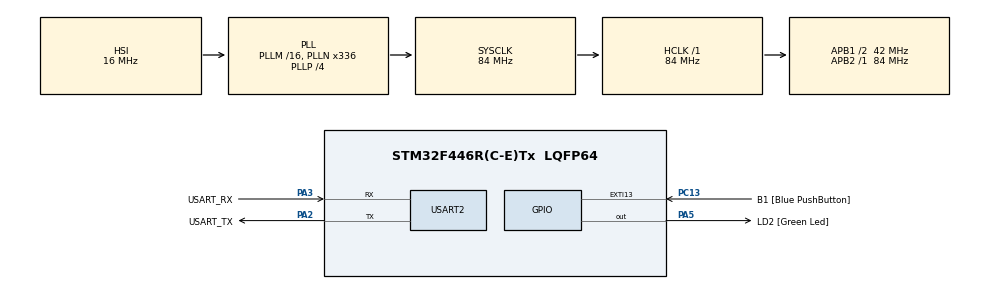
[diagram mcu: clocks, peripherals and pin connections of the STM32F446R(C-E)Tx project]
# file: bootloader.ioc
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Mcu.Family=STM32F4
Mcu.Name=STM32F446R(C-E)Tx
Mcu.Package=LQFP64
NVIC.PriorityGroup=NVIC_PRIORITYGROUP_0
PA13.GPIO_Label=TMS
PA13.Mode=Serial_Wire
PA13.Signal=SYS_JTMS-SWDIO
PA14.GPIO_Label=TCK
PA14.Mode=Serial_Wire
PA14.Signal=SYS_JTCK-SWCLK
PA2.GPIO_Label=USART_TX
PA2.Mode=Asynchronous
PA2.Signal=USART2_TX
PA3.GPIO_Label=USART_RX
PA3.Mode=Asynchronous
PA3.Signal=USART2_RX
PA5.GPIO_Label=LD2 [Green Led]
PA5.Signal=GPIO_Output
PB3.GPIO_Label=SWO
PB3.Signal=SYS_JTDO-SWO
PC13.GPIO_Label=B1 [Blue PushButton]
PC13.GPIO_ModeDefaultEXTI=GPIO_MODE_IT_FALLING
PC13.Signal=GPXTI13
PC14-OSC32_IN.Mode=LSE-External-Oscillator
PC14-OSC32_IN.Signal=RCC_OSC32_IN
PC15-OSC32_OUT.Mode=LSE-External-Oscillator
PC15-OSC32_OUT.Signal=RCC_OSC32_OUT
PH0-OSC_IN.Mode=HSE-External-Oscillator
PH0-OSC_IN.Signal=RCC_OSC_IN
PH1-OSC_OUT.Mode=HSE-External-Oscillator
PH1-OSC_OUT.Signal=RCC_OSC_OUT
ProjectManager.HeapSize=0x200
ProjectManager.StackSize=0x400
ProjectManager.TargetToolchain=STM32CubeIDE
RCC.48MHZClocksFreq_Value=84000000
RCC.AHBFreq_Value=84000000
RCC.APB1CLKDivider=RCC_HCLK_DIV2
RCC.APB1Freq_Value=42000000
RCC.APB1TimFreq_Value=84000000
RCC.APB2Freq_Value=84000000
RCC.APB2TimFreq_Value=84000000
RCC.CortexFreq_Value=84000000
RCC.FLatency-AdvancedSettings=FLASH_LATENCY_2
RCC.HCLKFreq_Value=84000000
RCC.HSE_VALUE=8000000
RCC.HSI_VALUE=16000000
RCC.PLLN=336
RCC.PLLP=RCC_PLLP_DIV4
RCC.SYSCLKFreq_VALUE=84000000
RCC.SYSCLKSource=RCC_SYSCLKSOURCE_PLLCLK
RCC.USBFreq_Value=168000000
RCC.VCOOutputFreq_Value=336000000
USART2.VirtualMode=VM_ASYNC
board=NUCLEO-F446RE

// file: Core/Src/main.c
/* USER CODE BEGIN Header */
/**
  ******************************************************************************
  * @file           : main.c
  * @brief          : Main program body
  ******************************************************************************
  * @attention
  *
  * Copyright (c) 2026 STMicroelectronics.
  * All rights reserved.
  *
  * This software is licensed under terms that can be found in the LICENSE file
  * in the root directory of this software component.
  * If no LICENSE file comes with this software, it is provided AS-IS.
  *
  ******************************************************************************
  */
/* USER CODE END Header */
#include "main.h"

/* USER CODE BEGIN Includes */
#include "flash.h"
#include "crc.h"

/* USER CODE END Includes */

UART_HandleTypeDef huart2;

void SystemClock_Config(void);
static void MX_GPIO_Init(void);
static void MX_USART2_UART_Init(void);

/* USER CODE BEGIN 0 */
#define SOF        0xA5
#define ACK        0x79
#define NACK       0x1F

#define CMD_PING   0x01
#define CMD_ERASE  0x02
#define CMD_WRITE  0x03
#define CMD_GO     0x05

#define BYTE_TIMEOUT_MS  100

typedef enum { ST_WAIT_SOF, ST_LEN, ST_CMD, ST_PAYLOAD, ST_CRC } rx_state_t;

static void send_byte(uint8_t b)
{
    HAL_UART_Transmit(&huart2, &b, 1, 100);
}

static void handle_frame(uint8_t cmd, uint8_t *payload, uint8_t len);  /* part 3 */

static void protocol_loop(void)
{
    rx_state_t st = ST_WAIT_SOF;
    uint8_t  buf[2 + 255];        /* LEN, CMD, then payload — the CRC'd region */
    uint8_t  len = 0, got = 0;
    uint8_t  crc_bytes[4];
    uint8_t  b;

    while (1)
    {
        /* one byte at a time; timeout matters only mid-frame */
        uint32_t to = (st == ST_WAIT_SOF) ? HAL_MAX_DELAY : BYTE_TIMEOUT_MS;

        if (HAL_UART_Receive(&huart2, &b, 1, to) != HAL_OK)
        {
            st = ST_WAIT_SOF;              /* silence mid-frame: abandon, resync */
            continue;
        }

        switch (st)
        {
        case ST_WAIT_SOF:
            if (b == SOF) st = ST_LEN;     /* anything else: silently discarded */
            break;

        case ST_LEN:
            len = b;  buf[0] = b;  got = 0;
            st = ST_CMD;
            break;

        case ST_CMD:
            buf[1] = b;
            st = (len > 0) ? ST_PAYLOAD : ST_CRC;
            break;

        case ST_PAYLOAD:
            buf[2 + got] = b;
            if (++got == len) { got = 0; st = ST_CRC; }
            break;

        case ST_CRC:
            crc_bytes[got] = b;
            if (++got == 4)
            {
                /* little-endian on the wire, per protocol.md */
                uint32_t rx_crc = (uint32_t)crc_bytes[0]
                                | ((uint32_t)crc_bytes[1] << 8)
                                | ((uint32_t)crc_bytes[2] << 16)
                                | ((uint32_t)crc_bytes[3] << 24);

                if (crc_compute(buf, 2 + len) == rx_crc)
                    handle_frame(buf[1], &buf[2], len);   /* handler sends ACK/NACK */
                else
                    send_byte(NACK);

                st = ST_WAIT_SOF;
            }
            break;
        }
    }
}

#define HDR_ADDR       0x08008000UL
#define APP_BASE_ADDR  0x08008200UL   /* where the app's vector table lives */
#define APP_MAGIC      0x464C4652UL

static int app_is_valid(void)
{
    /* the four header words — same pointer-read trick as jump_to_app */
    uint32_t magic      = *(volatile uint32_t *)(HDR_ADDR + 0U);
    uint32_t version    = *(volatile uint32_t *)(HDR_ADDR + 4U);
    uint32_t length     = *(volatile uint32_t *)(HDR_ADDR + 8U);
    uint32_t stored_crc = *(volatile uint32_t *)(HDR_ADDR + 12U);

    (void)version;   /* read but unused for now — silences the warning */

    /* 1. right kind of parcel? */
    if (magic != APP_MAGIC)
        return 0;

    /* 2. is the length sane BEFORE we trust it to bound a loop?
          max app size = everything from APP_BASE_ADDR to end of flash */
    if (length == 0U || length > (FLASH_END - APP_BASE_ADDR))
        return 0;

    /* 3. does the parcel's content actually match the slip?
          same crc_compute that checks frames — now checking the whole image */
    uint32_t computed = crc_compute((const uint8_t *)APP_BASE_ADDR, length);

    return (computed == stored_crc);
}

static void bootloader_signature(void)
{
    /* 5 fast flashes on LD2 (PA5) so we can SEE the bootloader run */
    for (int i = 0; i < 5; i++)
    {
        HAL_GPIO_WritePin(GPIOA, GPIO_PIN_5, GPIO_PIN_SET);
        HAL_Delay(100);
        HAL_GPIO_WritePin(GPIOA, GPIO_PIN_5, GPIO_PIN_RESET);
        HAL_Delay(100);
    }
}

static void jump_to_app(void)
{
    uint32_t app_msp   = *(uint32_t *)(APP_BASE_ADDR);
    uint32_t app_reset = *(uint32_t *)(APP_BASE_ADDR + 4U);

    __disable_irq();

    SysTick->CTRL = 0;
    SysTick->LOAD = 0;
    SysTick->VAL  = 0;

    HAL_DeInit();

    /* clear any pending interrupts so the app starts clean */
    for (int i = 0; i < 8; i++)
    {
        NVIC->ICER[i] = 0xFFFFFFFF;   /* disable all interrupts   */
        NVIC->ICPR[i] = 0xFFFFFFFF;   /* clear all pending         */
    }

    __set_MSP(app_msp);

    __enable_irq();                   /* app inherits IRQs enabled, like after reset */

    void (*app_entry)(void) = (void (*)(void))app_reset;
    app_entry();
}

static void update_mode(void)
{
    const char banner[] = "FlashForge bootloader v0.1 - update mode\r\n";
    HAL_UART_Transmit(&huart2, (uint8_t *)banner, sizeof(banner) - 1, 100);

    protocol_loop();

}
/* USER CODE END 0 */

int main(void)
{

  /* MCU Configuration--------------------------------------------------------*/

  /* Reset of all peripherals, Initializes the Flash interface and the Systick. */
  HAL_Init();

  /* Configure the system clock */
  SystemClock_Config();

  /* Initialize all configured peripherals */
  MX_GPIO_Init();
  MX_USART2_UART_Init();
  /* USER CODE BEGIN 2 */
  crc_init();
  bootloader_signature();

  uint8_t button_held = (HAL_GPIO_ReadPin(GPIOC, GPIO_PIN_13) == GPIO_PIN_RESET);

  if (button_held || !app_is_valid())
      update_mode();

  jump_to_app();
  /* USER CODE END 2 */

  /* Infinite loop */
  while (1)
  {

  }
}

void SystemClock_Config(void)
{
  RCC_OscInitTypeDef RCC_OscInitStruct = {0};
  RCC_ClkInitTypeDef RCC_ClkInitStruct = {0};

  /** Configure the main internal regulator output voltage
  */
  __HAL_RCC_PWR_CLK_ENABLE();
  __HAL_PWR_VOLTAGESCALING_CONFIG(PWR_REGULATOR_VOLTAGE_SCALE3);

  /** Initializes the RCC Oscillators according to the specified parameters
  * in the RCC_OscInitTypeDef structure.
  */
  RCC_OscInitStruct.OscillatorType = RCC_OSCILLATORTYPE_HSI;
  RCC_OscInitStruct.HSIState = RCC_HSI_ON;
  RCC_OscInitStruct.HSICalibrationValue = RCC_HSICALIBRATION_DEFAULT;
  RCC_OscInitStruct.PLL.PLLState = RCC_PLL_ON;
  RCC_OscInitStruct.PLL.PLLSource = RCC_PLLSOURCE_HSI;
  RCC_OscInitStruct.PLL.PLLM = 16;
  RCC_OscInitStruct.PLL.PLLN = 336;
  RCC_OscInitStruct.PLL.PLLP = RCC_PLLP_DIV4;
  RCC_OscInitStruct.PLL.PLLQ = 2;
  RCC_OscInitStruct.PLL.PLLR = 2;
  if (HAL_RCC_OscConfig(&RCC_OscInitStruct) != HAL_OK)
  {
    Error_Handler();
  }

  /** Initializes the CPU, AHB and APB buses clocks
  */
  RCC_ClkInitStruct.ClockType = RCC_CLOCKTYPE_HCLK|RCC_CLOCKTYPE_SYSCLK
                              |RCC_CLOCKTYPE_PCLK1|RCC_CLOCKTYPE_PCLK2;
  RCC_ClkInitStruct.SYSCLKSource = RCC_SYSCLKSOURCE_PLLCLK;
  RCC_ClkInitStruct.AHBCLKDivider = RCC_SYSCLK_DIV1;
  RCC_ClkInitStruct.APB1CLKDivider = RCC_HCLK_DIV2;
  RCC_ClkInitStruct.APB2CLKDivider = RCC_HCLK_DIV1;

  if (HAL_RCC_ClockConfig(&RCC_ClkInitStruct, FLASH_LATENCY_2) != HAL_OK)
  {
    Error_Handler();
  }
}

static void MX_USART2_UART_Init(void)
{

  huart2.Instance = USART2;
  huart2.Init.BaudRate = 115200;
  huart2.Init.WordLength = UART_WORDLENGTH_8B;
  huart2.Init.StopBits = UART_STOPBITS_1;
  huart2.Init.Parity = UART_PARITY_NONE;
  huart2.Init.Mode = UART_MODE_TX_RX;
  huart2.Init.HwFlowCtl = UART_HWCONTROL_NONE;
  huart2.Init.OverSampling = UART_OVERSAMPLING_16;
  if (HAL_UART_Init(&huart2) != HAL_OK)
  {
    Error_Handler();
  }

}

static void MX_GPIO_Init(void)
{
  GPIO_InitTypeDef GPIO_InitStruct = {0};

  /* GPIO Ports Clock Enable */
  __HAL_RCC_GPIOC_CLK_ENABLE();
  __HAL_RCC_GPIOH_CLK_ENABLE();
  __HAL_RCC_GPIOA_CLK_ENABLE();
  __HAL_RCC_GPIOB_CLK_ENABLE();

  /*Configure GPIO pin Output Level */
  HAL_GPIO_WritePin(LD2_GPIO_Port, LD2_Pin, GPIO_PIN_RESET);

  /*Configure GPIO pin : B1_Pin */
  GPIO_InitStruct.Pin = B1_Pin;
  GPIO_InitStruct.Mode = GPIO_MODE_IT_FALLING;
  GPIO_InitStruct.Pull = GPIO_NOPULL;
  HAL_GPIO_Init(B1_GPIO_Port, &GPIO_InitStruct);

  /*Configure GPIO pin : LD2_Pin */
  GPIO_InitStruct.Pin = LD2_Pin;
  GPIO_InitStruct.Mode = GPIO_MODE_OUTPUT_PP;
  GPIO_InitStruct.Pull = GPIO_NOPULL;
  GPIO_InitStruct.Speed = GPIO_SPEED_FREQ_LOW;
  HAL_GPIO_Init(LD2_GPIO_Port, &GPIO_InitStruct);

}

/* USER CODE BEGIN 4 */
static void handle_frame(uint8_t cmd, uint8_t *payload, uint8_t len)
{
    switch (cmd)
    {
    case CMD_PING:
        send_byte(ACK);
        break;

    case CMD_ERASE:
        if (len != 1) { send_byte(NACK); break; }
        flash_unlock();
        {
            flash_status_t s = flash_erase_sector(payload[0]);
            flash_lock();
            send_byte(s == FLASH_OK ? ACK : NACK);
        }
        break;

    case CMD_WRITE:
        /* payload: 4-byte little-endian address + data (multiple of 4) */
        if (len < 8 || ((len - 4) % 4) != 0) { send_byte(NACK); break; }
        {
            uint32_t addr = (uint32_t)payload[0]
                          | ((uint32_t)payload[1] << 8)
                          | ((uint32_t)payload[2] << 16)
                          | ((uint32_t)payload[3] << 24);

            /* refuse to touch bootloader territory — belt AND braces */
            if (addr < 0x08008000UL) { send_byte(NACK); break; }

            flash_status_t s = FLASH_OK;
            flash_unlock();
            for (uint8_t i = 4; i < len && s == FLASH_OK; i += 4)
            {
                uint32_t w = (uint32_t)payload[i]
                           | ((uint32_t)payload[i+1] << 8)
                           | ((uint32_t)payload[i+2] << 16)
                           | ((uint32_t)payload[i+3] << 24);
                s = flash_write_word(addr + (i - 4), w);
            }
            flash_lock();
            send_byte(s == FLASH_OK ? ACK : NACK);
        }
        break;

    case CMD_GO:
        send_byte(ACK);          /* confirm BEFORE leaving, per protocol.md */
        HAL_Delay(10);           /* let the byte drain out of the UART */
        NVIC_SystemReset();      /* clean restart; bootloader re-checks and jumps */
        break;

    default:
        send_byte(NACK);
        break;
    }
}
/* USER CODE END 4 */

void Error_Handler(void)
{
  __disable_irq();
  while (1)
  {
  }
}
